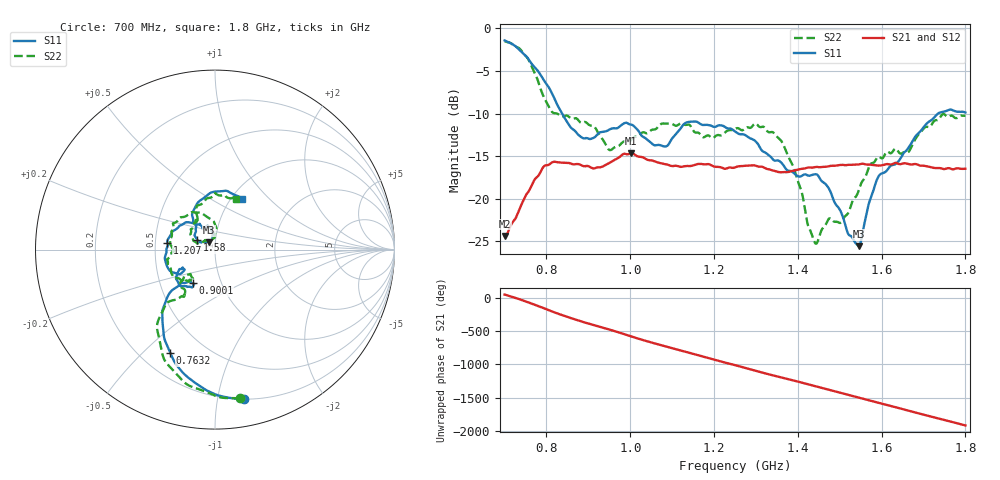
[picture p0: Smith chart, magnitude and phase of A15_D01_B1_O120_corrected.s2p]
! Created with skrf 1.9.0 (http://scikit-rf.org).
# Hz S RI R 50.0
!freq ReS11 ImS11 ReS21 ImS21 ReS12 ImS12 ReS22 ImS22
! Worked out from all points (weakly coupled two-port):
!   1601 points, 700 MHz to 1.8 GHz, reference 50 ohm
!   highest |S21| = -14.68 dB at 1.002 GHz (marker M1); lowest = -24.4 dB at 700 MHz (marker M2)
!   lowest |S11| = -25.6 dB at 1.546 GHz (marker M3), VSWR 1.11, Z = 46.6 + j3.74 ohm
!   |S11| at or under -10 dB: 837.3 MHz to 1.735 GHz (897.2 MHz wide, 69.8 % of centre)
!   |S22| runs from -25.3 to -1.5 dB; largest |S21 - S12| = 0.0037
!   S11 on the Smith chart (normalised r, x): 700 MHz: 0.20, -1.19; 763.2 MHz: 0.32, -0.61; 900.1 MHz: 0.73, -0.29; 1.207 GHz: 0.58, +0.05; 1.58 GHz: 0.82, +0.09; 1.8 GHz: 1.12, +0.71
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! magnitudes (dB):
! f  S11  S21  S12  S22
! 700 MHz  -1.4  -24.4  -24.2  -1.5
! 763.2 MHz  -4.1  -18.6  -18.6  -4.3
! 812.1 MHz  -7.5  -15.8  -15.7  -9.7
! 883.6 MHz  -12.8  -16.1  -16.0  -11.1
! 900.1 MHz  -13.0  -16.2  -16.2  -11.3
! 950.9 MHz  -11.9  -15.8  -15.8  -14.3
! 1.002 GHz  -11.3  -14.7  -14.8  -13.1
! 1.067 GHz  -13.7  -15.8  -15.7  -11.5
! 1.136 GHz  -11.0  -16.2  -16.2  -11.3
! 1.207 GHz  -11.5  -16.3  -16.3  -12.5
! 1.25 GHz  -12.1  -16.3  -16.3  -11.8
! 1.3 GHz  -13.3  -16.2  -16.1  -11.2
! 1.36 GHz  -15.7  -16.9  -16.9  -13.2
! 1.405 GHz  -17.4  -16.5  -16.5  -18.6
! 1.434 GHz  -17.2  -16.4  -16.3  -24.2
! 1.504 GHz  -21.7  -16.0  -16.1  -22.8
! 1.546 GHz  -25.6  -16.0  -15.9  -19.0
! 1.58 GHz  -19.1  -16.1  -16.1  -15.8
! 1.617 GHz  -16.4  -16.0  -15.9  -14.6
! 1.663 GHz  -14.1  -15.9  -15.9  -14.5
! 1.735 GHz  -10.0  -16.4  -16.5  -10.7
! 1.8 GHz  -9.9  -16.5  -16.5  -10.3
